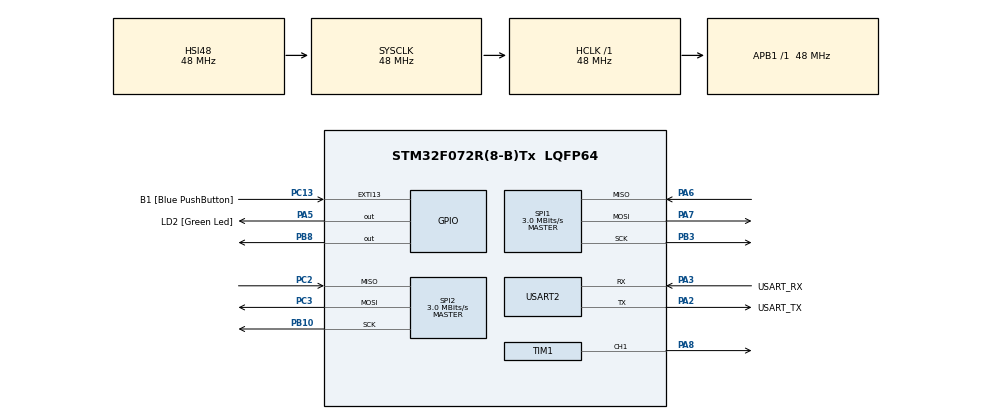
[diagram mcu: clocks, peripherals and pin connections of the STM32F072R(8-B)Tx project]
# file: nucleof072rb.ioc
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Mcu.Family=STM32F0
Mcu.Name=STM32F072R(8-B)Tx
Mcu.Package=LQFP64
PA13.GPIO_Label=TMS
PA13.Mode=Serial_Wire
PA13.Signal=SYS_SWDIO
PA14.GPIO_Label=TCK
PA14.Mode=Serial_Wire
PA14.Signal=SYS_SWCLK
PA2.GPIO_Label=USART_TX
PA2.GPIO_Mode=GPIO_MODE_AF_PP
PA2.GPIO_PuPd=GPIO_NOPULL
PA2.GPIO_Speed=GPIO_SPEED_FREQ_LOW
PA2.Mode=Asynchronous
PA2.Signal=USART2_TX
PA3.GPIO_Label=USART_RX
PA3.GPIO_Mode=GPIO_MODE_AF_PP
PA3.GPIO_PuPd=GPIO_NOPULL
PA3.GPIO_Speed=GPIO_SPEED_FREQ_LOW
PA3.Mode=Asynchronous
PA3.Signal=USART2_RX
PA5.GPIO_Label=LD2 [Green Led]
PA5.GPIO_Mode=GPIO_MODE_OUTPUT_PP
PA5.GPIO_PuPd=GPIO_NOPULL
PA5.GPIO_Speed=GPIO_SPEED_FREQ_LOW
PA5.Signal=GPIO_Output
PA6.Mode=Full_Duplex_Master
PA6.Signal=SPI1_MISO
PA7.Mode=Full_Duplex_Master
PA7.Signal=SPI1_MOSI
PA8.Signal=S_TIM1_CH1
PB10.Mode=Full_Duplex_Master
PB10.Signal=SPI2_SCK
PB3.Mode=Full_Duplex_Master
PB3.Signal=SPI1_SCK
PB8.Signal=GPIO_Output
PC13.GPIO_Label=B1 [Blue PushButton]
PC13.GPIO_ModeDefaultEXTI=GPIO_MODE_IT_FALLING
PC13.Signal=GPXTI13
PC14-OSC32_IN.Mode=LSE-External-Oscillator
PC14-OSC32_IN.Signal=RCC_OSC32_IN
PC15-OSC32_OUT.Mode=LSE-External-Oscillator
PC15-OSC32_OUT.Signal=RCC_OSC32_OUT
PC2.Mode=Full_Duplex_Master
PC2.Signal=SPI2_MISO
PC3.Mode=Full_Duplex_Master
PC3.Signal=SPI2_MOSI
PF0-OSC_IN.Mode=HSE-External-Clock-Source
PF0-OSC_IN.Signal=RCC_OSC_IN
PF1-OSC_OUT.Signal=RCC_OSC_OUT
ProjectManager.HeapSize=0x200
ProjectManager.StackSize=0x400
ProjectManager.TargetToolchain=STM32CubeIDE
RCC.AHBFreq_Value=48000000
RCC.APB1Freq_Value=48000000
RCC.APB1TimFreq_Value=48000000
RCC.FLatency-AdvancedSettings=FLASH_LATENCY_1
RCC.HCLKFreq_Value=48000000
RCC.PLLDivider=RCC_PREDIV_DIV2
RCC.PLLMUL=RCC_PLL_MUL12
RCC.PREFETCH_ENABLE-AdvancedSettings=1
RCC.SYSCLKFreq_VALUE=48000000
RCC.SYSCLKSource=RCC_SYSCLKSOURCE_HSI48
SH.S_TIM1_CH1.0=TIM1_CH1,PWM Generation1 CH1
SPI1.BaudRatePrescaler=SPI_BAUDRATEPRESCALER_16
SPI1.CLKPhase=SPI_PHASE_1EDGE
SPI1.CalculateBaudRate=3.0 MBits/s
SPI1.DataSize=SPI_DATASIZE_8BIT
SPI1.Direction=SPI_DIRECTION_2LINES
SPI1.FirstBit=SPI_FIRSTBIT_LSB
SPI1.Mode=SPI_MODE_MASTER
SPI1.VirtualType=VM_MASTER
SPI2.BaudRatePrescaler=SPI_BAUDRATEPRESCALER_16
SPI2.CalculateBaudRate=3.0 MBits/s
SPI2.Direction=SPI_DIRECTION_2LINES
SPI2.Mode=SPI_MODE_MASTER
SPI2.VirtualType=VM_MASTER
TIM1.Channel-PWM\ Generation1\ CH1=TIM_CHANNEL_1
TIM1.Prescaler=145
USART2.VirtualMode=VM_ASYNC
USART2.VirtualMode-Asynchronous=VM_ASYNC
VP_TIM1_VS_ClockSourceINT.Mode=Internal
board=NUCLEO-F072RB

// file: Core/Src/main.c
/* USER CODE BEGIN Header */
/**
  ******************************************************************************
  * @file           : main.c
  * @brief          : Main program body
  ******************************************************************************
  * @attention
  *
  * <h2><center>&copy; Copyright (c) 2021 STMicroelectronics.
  * All rights reserved.</center></h2>
  *
  * This software component is licensed by ST under BSD 3-Clause license,
  * the "License"; You may not use this file except in compliance with the
  * License. You may obtain a copy of the License at:
  *                        opensource.org/licenses/BSD-3-Clause
  *
  ******************************************************************************
  */
/* USER CODE END Header */
#include "main.h"
#include "spi.h"
#include "tim.h"
#include "usart.h"
#include "gpio.h"

void SystemClock_Config(void);
/* USER CODE BEGIN PFP */
uint8_t SPI_TransmitReceive(SPI_HandleTypeDef *hspi, uint8_t *txData, uint8_t *rxData, uint16_t size, uint32_t timeout);
uint16_t filter_data(uint8_t *rxData);
/* USER CODE END PFP */

int main(void)
{
  /* USER CODE BEGIN 1 */
  uint8_t TxData[3]; // send data
  uint8_t RxData[3]; // 8 bit transmit and receive buffers (24 bits total)

  TxData[0] = 0x01; // 7 leading zeros before first bit
  TxData[1] = 0x80; // 1 0 0 0 X X X X
  TxData[2] = 0x00; // X X X X X X X X
  double adc_max = 1023.0; // 10 bits --> max: 1023 bits
  uint16_t min_duty_cycle = 0.05*65535;
  uint16_t max_duty_cycle = 0.10*65535;
  /* USER CODE END 1 */

  /* MCU Configuration--------------------------------------------------------*/

  /* Reset of all peripherals, Initializes the Flash interface and the Systick. */
  HAL_Init();

  /* Configure the system clock */
  SystemClock_Config();

  /* Initialize all configured peripherals */
  MX_GPIO_Init();
  MX_USART2_UART_Init();
  MX_SPI1_Init();
  MX_SPI2_Init();
  MX_TIM1_Init();
  /* USER CODE BEGIN 2 */

  HAL_TIM_PWM_Start(&htim1, TIM_CHANNEL_1); // start pwm timer

  /* USER CODE END 2 */

  /* Infinite loop */
  /* USER CODE BEGIN WHILE */
  while (1)
  {

    uint8_t is_transmitted = SPI_TransmitReceive(&hspi1, TxData, RxData, 3, HAL_MAX_DELAY); // transmit and receive data
    if(is_transmitted == 1){
    	uint16_t ADC_value = filter_data(RxData); // filter the bits from reception line

    	uint16_t compare_register = (min_duty_cycle) + (ADC_value*(max_duty_cycle - min_duty_cycle))/adc_max;

    	__HAL_TIM_SET_COMPARE(&htim1, TIM_CHANNEL_1, compare_register);
    }

	HAL_Delay(10);
    /* USER CODE END WHILE */

  }
}

void SystemClock_Config(void)
{
  RCC_OscInitTypeDef RCC_OscInitStruct = {0};
  RCC_ClkInitTypeDef RCC_ClkInitStruct = {0};
  RCC_PeriphCLKInitTypeDef PeriphClkInit = {0};

  /** Initializes the RCC Oscillators according to the specified parameters
  * in the RCC_OscInitTypeDef structure.
  */
  RCC_OscInitStruct.OscillatorType = RCC_OSCILLATORTYPE_HSI48;
  RCC_OscInitStruct.HSI48State = RCC_HSI48_ON;
  RCC_OscInitStruct.PLL.PLLState = RCC_PLL_NONE;
  if (HAL_RCC_OscConfig(&RCC_OscInitStruct) != HAL_OK)
  {
    Error_Handler();
  }
  /** Initializes the CPU, AHB and APB buses clocks
  */
  RCC_ClkInitStruct.ClockType = RCC_CLOCKTYPE_HCLK|RCC_CLOCKTYPE_SYSCLK
                              |RCC_CLOCKTYPE_PCLK1;
  RCC_ClkInitStruct.SYSCLKSource = RCC_SYSCLKSOURCE_HSI48;
  RCC_ClkInitStruct.AHBCLKDivider = RCC_SYSCLK_DIV1;
  RCC_ClkInitStruct.APB1CLKDivider = RCC_HCLK_DIV1;

  if (HAL_RCC_ClockConfig(&RCC_ClkInitStruct, FLASH_LATENCY_1) != HAL_OK)
  {
    Error_Handler();
  }
  PeriphClkInit.PeriphClockSelection = RCC_PERIPHCLK_USART2;
  PeriphClkInit.Usart2ClockSelection = RCC_USART2CLKSOURCE_PCLK1;
  if (HAL_RCCEx_PeriphCLKConfig(&PeriphClkInit) != HAL_OK)
  {
    Error_Handler();
  }
}

/* USER CODE BEGIN 4 */
uint8_t SPI_TransmitReceive(SPI_HandleTypeDef *hspi, uint8_t *txData, uint8_t *rxData, uint16_t size, uint32_t timeout){
	HAL_GPIO_WritePin(GPIOB, GPIO_PIN_8, GPIO_PIN_RESET); // brings the CS line low before reading buffer

	if(HAL_SPI_TransmitReceive(hspi, txData, rxData, size, timeout) == HAL_OK){ // validates if data transmitted correctly
		HAL_GPIO_WritePin(GPIOB, GPIO_PIN_8, GPIO_PIN_SET); // brings the CS line high after reading buffer
		return 1; // true
	}

	HAL_GPIO_WritePin(GPIOB, GPIO_PIN_8, GPIO_PIN_SET); // brings the CS line high if transmission fails
	return 0; // false

}

uint16_t filter_data(uint8_t *rxData){
	return ((rxData[1] & 0x03) << 8) | rxData[2];
}

/* USER CODE END 4 */

void Error_Handler(void)
{
  __disable_irq();
  while (1)
  {
  }
}

/************************ (C) COPYRIGHT STMicroelectronics *****END OF FILE****/
